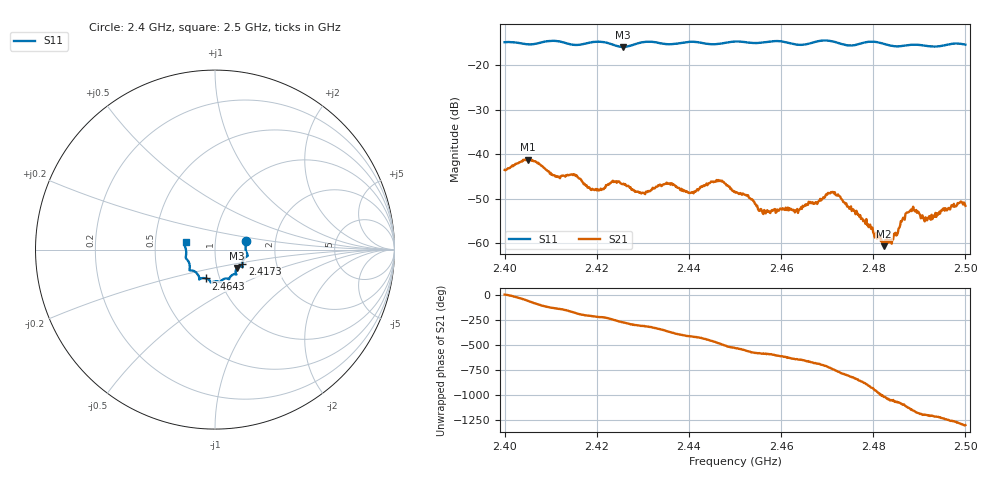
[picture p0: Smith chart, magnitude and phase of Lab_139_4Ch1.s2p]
# Hz S RI R 50
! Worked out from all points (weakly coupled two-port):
!   601 points, 2.4 GHz to 2.5 GHz, reference 50 ohm
!   highest |S21| = -41.22 dB at 2.405 GHz (marker M1); lowest = -60.7 dB at 2.4823 GHz (marker M2)
!   lowest |S11| = -15.9 dB at 2.4257 GHz (marker M3), VSWR 1.38, Z = 62.4 - j13.1 ohm
!   |S11| at or under -10 dB: start of sweep to end of sweep
!   S12 and S22 are empty: the file has one direction only
!   S11 on the Smith chart (normalised r, x): 2.4 GHz: 1.41, +0.15; 2.4173 GHz: 1.34, -0.23; 2.4643 GHz: 0.86, -0.28; 2.5 GHz: 0.72, +0.06
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2.4e9  0.1732 0.0499  0.00662 0.000586  0 0  0 0
2.405e9  0.17 0.0139  0.00465 -0.00735  0 0  0 0
2.410667e9  0.1836 -0.034  -0.00375 -0.00442  0 0  0 0
2.416667e9  0.1527 -0.0746  -0.00486 0.00145  0 0  0 0
2.417333e9  0.1522 -0.082  -0.00434 0.00167  0 0  0 0
2.42e9  0.1547 -0.097  -0.00312 0.00238  0 0  0 0
2.425667e9  0.1225 -0.1022  0.000245 0.0046  0 0  0 0
2.43e9  0.1181 -0.1363  0.00232 0.00286  0 0  0 0
2.433333e9  0.1127 -0.1367  0.00414 0.0017  0 0  0 0
2.436167e9  0.0928 -0.1438  0.00458 -0.00111  0 0  0 0
2.4405e9  0.0791 -0.1642  0.00223 -0.00294  0 0  0 0
2.4465e9  0.0437 -0.1668  -0.00259 -0.00425  0 0  0 0
2.45e9  0.0298 -0.181  -0.00373 -0.000662  0 0  0 0
2.456333e9  -0.00914 -0.1794  -0.00161 0.00173  0 0  0 0
2.464333e9  -0.0502 -0.1605  0.000637 0.00246  0 0  0 0
2.466667e9  -0.0762 -0.1599  0.00191 0.00208  0 0  0 0
2.471333e9  -0.0871 -0.1613  0.00347 -0.00143  0 0  0 0
2.482333e9  -0.1407 -0.0997  0.000443 0.000814  0 0  0 0
2.483333e9  -0.1408 -0.0895  0.000745 0.000686  0 0  0 0
2.488167e9  -0.161 -0.0498  0.00102 -0.00215  0 0  0 0
2.491333e9  -0.1614 -0.0312  -0.000804 -0.00178  0 0  0 0
2.5e9  -0.1637 0.0421  -0.00204 0.00166  0 0  0 0
